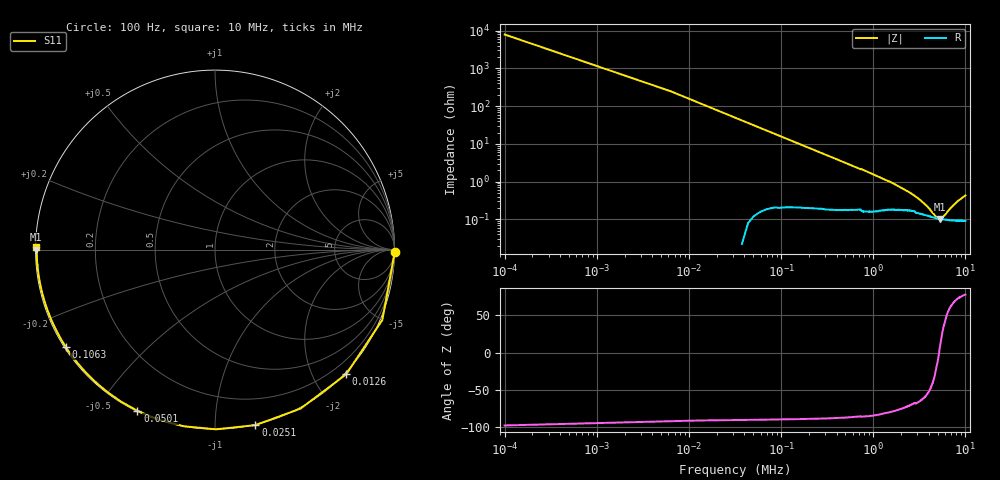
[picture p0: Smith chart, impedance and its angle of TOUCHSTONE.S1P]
!Keysight Technologies,E5061B,MY49912438,B.06.30
!Date: Thu Nov 06 19:53:36 2025
!Data & Calibration Information:
!Freq	S11:SOLT1(ON)
# Hz S dB R 50
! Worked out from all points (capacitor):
!   1601 points, 100 Hz to 10 MHz, reference 50 ohm
!   read as one part to ground: C = 101 nF near 50.1 kHz
!   lowest |Z| = 103 mohm at 5.238 MHz (marker M1)
!   series resonance near 5.191 MHz, so ESL is about 9.3 nH
!   S11 on the Smith chart (normalised r, x): 100 Hz: open; 12.6 kHz: -0.03, -2.50; 25.1 kHz: -0.00, -1.26; 50.1 kHz: 0.00, -0.63; 106.3 kHz: 0.00, -0.30; 10 MHz: 0.00, +0.01
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100  0.01 -0.7
12599.88  0.07 -43.5
25099.75  0.03 -77.0
50099.5  -0.03 -115.7
56349.44  -0.04 -121.6
62599.38  -0.05 -126.6
68849.31  -0.05 -130.9
75099.25  -0.06 -134.5
87599.12  -0.06 -140.5
93849.06  -0.06 -142.9
106348.9  -0.07 -147.0
125098.8  -0.07 -151.7
143848.6  -0.07 -155.3
168848.3  -0.07 -158.8
200098  -0.07 -162.1
268847.3  -0.07 -166.6
368846.3  -0.06 -170.3
500095  -0.06 -172.8
681343.2  -0.06 -174.8
1250088  -0.06 -177.2
2500075  -0.06 -178.9
3750062  -0.04 -179.5
5000050  -0.04 -179.9
5237548  -0.04 180.0
6250038  -0.03 179.7
7500025  -0.03 179.5
8750012  -0.03 179.3
1e7  -0.03 179.0
